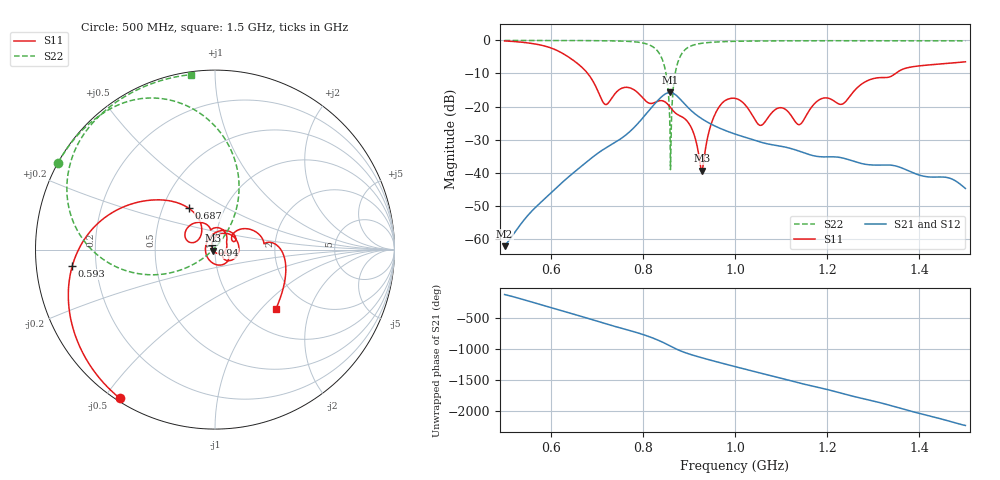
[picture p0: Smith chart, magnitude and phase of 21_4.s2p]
! TOUCHSTONE file generated by CST MICROWAVE STUDIO
! Date and time: Fri Oct  2 16:57:21 2020
! Project name: Scenario_1_Free_Space_out_of_line.cst
! Parameters = {Lambda=346.42; Step_1=17.321; dy1=0.82; dx1=693; L_HA=400; MT=2.54; Rad_Dielectric=30; Rad_Lower=7.3; Rad_Upper=30; a_HA=580; a_WG=246; b_HA=500; b_WG=121; c_HA=0; c_WG=187; d_feed=85; h_feed=15; h_lower=18; h_upper=40}
! Header version: 2018
! Port assignment regex: !\s*Touchstone port\s*([0-9]+)\s*=\s*(CST MWS port|CST DS port)\s*([0-9]+|Zmin|Zmax)\s*\(\"(.*)\"\)(\s*mode\s*([0-9]+))?.*
! Touchstone port assignment:
! Touchstone port 1 = CST MWS port 1 ("")
! Touchstone port 2 = CST MWS port 2 ("")
# GHz S DB R 50
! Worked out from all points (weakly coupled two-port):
!   1003 points, 500 MHz to 1.5 GHz, reference 50 ohm
!   highest |S21| = -15.75 dB at 859 MHz (marker M1); lowest = -62.2 dB at 500 MHz (marker M2)
!   lowest |S11| = -39.4 dB at 928 MHz (marker M3), VSWR 1.02, Z = 49.1 - j0.622 ohm
!   |S11| at or under -10 dB: 680.4 MHz to 1.348 GHz (667.8 MHz wide, 65.8 % of centre)
!   |S22| runs from -39.1 to 0.0 dB; largest |S21 - S12| = 4.4e-05
!   S11 on the Smith chart (normalised r, x): 500 MHz: 0.01, -0.55; 593 MHz: 0.11, -0.06; 687 MHz: 0.68, +0.34; 940 MHz: 0.96, +0.05; 1.5 GHz: 1.41, -1.22
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0.5  -0.15 -122.7  -62.25 -115.9  -62.25 -115.9  -0.01 151.1
0.593  -1.93 -173.4  -47.11 47.6  -47.11 47.6  -0.02 144.6
0.667  -8.02 136.0  -38.03 -111.7  -38.03 -111.7  -0.04 138.3
0.687  -11.26 122.5  -35.75 -156.0  -35.75 -156.0  -0.06 136.2
0.719  -19.40 143.2  -32.58 131.4  -32.58 131.4  -0.10 132.4
0.763  -14.18 142.9  -28.62 37.6  -28.62 37.6  -0.24 124.8
0.834  -18.33 90.7  -17.95 -139.3  -17.95 -139.3  -3.57 88.1
0.849  -18.67 65.2  -16.17 168.7  -16.17 168.7  -9.09 67.6
0.859  -20.12 48.4  -15.75 130.6  -15.75 130.6  -27.44 57.7
0.869  -21.75 37.1  -16.25 92.8  -16.25 92.8  -11.02 -152.5
0.88  -22.76 25.7  -17.62 55.3  -17.62 55.3  -5.15 -169.6
0.906  -26.63 -23.3  -21.36 -13.8  -21.36 -13.8  -1.59 165.7
0.928  -39.39 -143.9  -23.69 -61.9  -23.69 -61.9  -0.86 155.5
0.94  -29.70 124.5  -24.71 -86.7  -24.71 -86.7  -0.66 151.7
0.966  -20.01 63.9  -26.50 -138.8  -26.50 -138.8  -0.42 145.8
1  -17.52 -1.3  -28.32 154.8  -28.32 154.8  -0.27 140.3
1.055  -25.70 -31.6  -30.75 49.8  -30.75 49.8  -0.16 133.9
1.098  -20.35 -48.3  -31.96 -30.4  -31.96 -30.4  -0.13 129.9
1.141  -25.41 171.5  -33.57 -113.6  -33.57 -113.6  -0.10 126.3
1.167  -20.03 83.3  -34.77 -159.9  -34.77 -159.9  -0.09 124.2
1.334  -11.11 7.1  -37.68 -109.2  -37.68 -109.2  -0.09 111.4
1.5  -6.46 -44.5  -44.78 -80.3  -44.77 -79.9  -0.14 97.9
